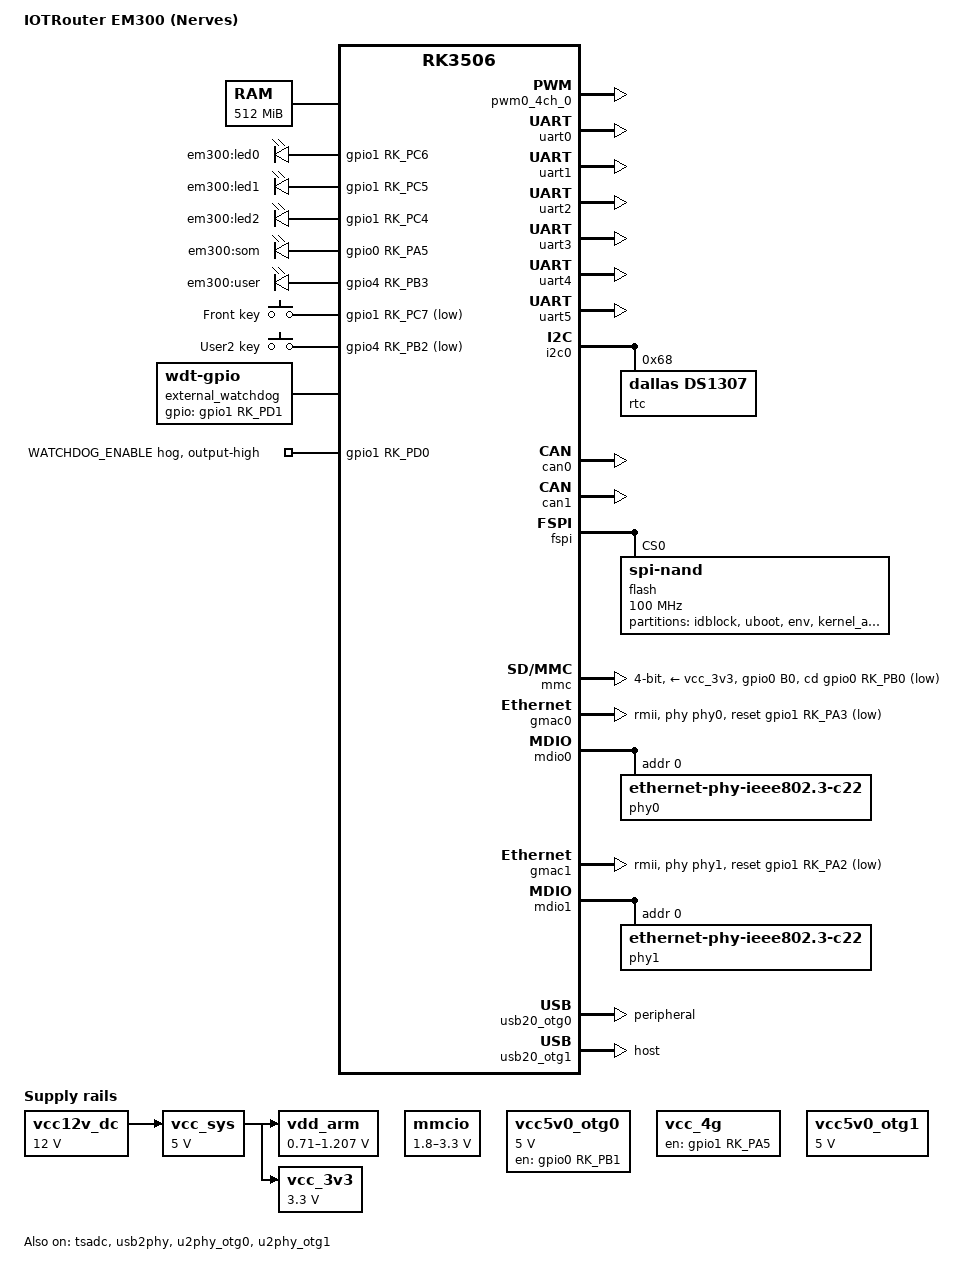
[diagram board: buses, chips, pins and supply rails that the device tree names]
// SPDX-License-Identifier: (GPL-2.0+ OR MIT)
/*
 * IOTRouter EM300 board configuration.
 *
 * Wiring comes from the stock EM300 device tree and the GPIO consumers of its
 * vendor services. Lines without a qualified Linux driver are named but left
 * unclaimed so userspace (Circuits.GPIO) can own them explicitly.
 */

/dts-v1/;

#include <dt-bindings/gpio/gpio.h>
#include <dt-bindings/input/input.h>
#include <dt-bindings/pinctrl/rockchip.h>

/* Reservations must precede the root nodes in the included SoC tree. */
/memreserve/ 0x00063000 0x0000b000;

#include "rk3506.dtsi"

/* The stock EM300 CPU operating-point table (identical to EC100). */
/delete-node/ &cpu0_opp_table;

/ {
    cpu0_opp_table: cpu0-opp-table {
        compatible = "operating-points-v2";
        opp-shared;
        nvmem-cells = <&cpu_leakage>;
        nvmem-cell-names = "leakage";
        rockchip,pvtm-voltage-sel = <
            0 1584 0
            1585 1619 1
            1620 1654 2
            1655 1689 3
            1690 1724 4
            1725 1759 5
            1760 1794 6
            1795 9999 7
        >;
        rockchip,pvtm-pvtpll;
        rockchip,pvtm-offset = <0x18>;
        rockchip,pvtm-sample-time = <500>;
        rockchip,pvtm-freq = <1608000>;
        rockchip,pvtm-volt = <1000000>;
        rockchip,pvtm-ref-temp = <40>;
        rockchip,pvtm-temp-prop = <0 0>;
        rockchip,pvtm-thermal-zone = "soc-thermal";
        rockchip,grf = <&pvtpll_core>;
        rockchip,temp-hysteresis = <5000>;
        rockchip,low-temp = <10000>;
        rockchip,low-temp-min-volt = <900000>;

        opp-600000000 {
            opp-hz = /bits/ 64 <600000000>;
            opp-microvolt = <850000 850000 1000000>;
            clock-latency-ns = <40000>;
            opp-suspend;
            status = "okay";
        };
        opp-800000000 {
            opp-hz = /bits/ 64 <800000000>;
            opp-microvolt = <850000 850000 1000000>;
            clock-latency-ns = <40000>;
            status = "okay";
        };
        opp-1008000000 {
            opp-hz = /bits/ 64 <1008000000>;
            opp-microvolt = <850000 850000 1000000>;
            opp-microvolt-L0 = <875000 875000 1000000>;
            clock-latency-ns = <40000>;
            status = "okay";
        };
        opp-1200000000 {
            opp-hz = /bits/ 64 <1200000000>;
            opp-microvolt = <850000 850000 1000000>;
            opp-microvolt-L0 = <875000 875000 1000000>;
            clock-latency-ns = <40000>;
            status = "okay";
        };
    };
};

/ {
    model = "IOTRouter EM300 (Nerves)";
    compatible = "iotrouter,em300", "rockchip,rk3506";

    aliases {
        serial0 = &uart0;
        mmc0 = &mmc;
    };

    chosen {
        stdout-path = "serial0:115200n8";
        bootargs = "earlycon=uart8250,mmio32,0xff0a0000 console=ttyS0,115200 rootwait ro";
    };

    memory@0 {
        device_type = "memory";
        reg = <0x00000000 0x20000000>;
    };

    reserved-memory {
        /delete-node/ drm-logo@0;
        /delete-node/ linux,cma;

        /* Inherit the vendor trust@0 reservation: base 0, size 0x62000. */
    };

    /* LED polarity is provisional: the stock services drive these lines but
     * the physical on-state is not qualified.
     */
    leds {
        compatible = "gpio-leds";
        pinctrl-names = "default";
        pinctrl-0 = <&led0_pin &led1_pin &led2_pin &som_led_pin &user_led_pin>;

        led0 {
            label = "em300:led0";
            gpios = <&gpio1 RK_PC6 GPIO_ACTIVE_HIGH>;
            default-state = "off";
        };

        led1 {
            label = "em300:led1";
            gpios = <&gpio1 RK_PC5 GPIO_ACTIVE_HIGH>;
            default-state = "off";
        };

        led2 {
            label = "em300:led2";
            gpios = <&gpio1 RK_PC4 GPIO_ACTIVE_HIGH>;
            default-state = "off";
        };

        som {
            label = "em300:som";
            gpios = <&gpio0 RK_PA5 GPIO_ACTIVE_HIGH>;
            default-state = "off";
        };

        user {
            label = "em300:user";
            gpios = <&gpio4 RK_PB3 GPIO_ACTIVE_HIGH>;
            default-state = "off";
        };
    };

    gpio-keys {
        compatible = "gpio-keys";
        pinctrl-names = "default";
        pinctrl-0 = <&key_pin &user2_key_pin>;

        key {
            label = "Front key";
            linux,code = <KEY_PROG1>;
            gpios = <&gpio1 RK_PC7 GPIO_ACTIVE_LOW>;
        };

        user2 {
            label = "User2 key";
            linux,code = <KEY_PROG2>;
            gpios = <&gpio4 RK_PB2 GPIO_ACTIVE_LOW>;
        };
    };

    /* External toggle-fed supervisor, as on the EC100. Stock firmware boots
     * with WATCHDOG_ENABLE at its pull-down level, then its application drives
     * it high and toggles WATCHDOG_KICK about every 10 s. Enable is hogged
     * high (see &gpio1); Linux feeds about every 5 s, twice the stock rate.
     * UNQUALIFIED: the hardware timeout is only known to exceed ~10 s.
     */
    external_watchdog: external-watchdog {
        compatible = "linux,wdt-gpio";
        pinctrl-names = "default";
        pinctrl-0 = <&external_watchdog_pin>;
        gpios = <&gpio1 RK_PD1 GPIO_ACTIVE_HIGH>;
        hw_algo = "toggle";
        hw_margin_ms = <10000>;
        always-running;
    };

    vcc12v_dc: vcc12v-dc {
        compatible = "regulator-fixed";
        regulator-name = "vcc12v_dc";
        regulator-always-on;
        regulator-boot-on;
        regulator-min-microvolt = <12000000>;
        regulator-max-microvolt = <12000000>;
    };

    vcc_sys: vcc-sys {
        compatible = "regulator-fixed";
        regulator-name = "vcc_sys";
        regulator-always-on;
        regulator-boot-on;
        regulator-min-microvolt = <5000000>;
        regulator-max-microvolt = <5000000>;
        vin-supply = <&vcc12v_dc>;
    };

    /* CPU rail: PWM0 channel 0, inverse polarity (as stock). */
    vdd_arm: vdd-arm {
        compatible = "pwm-regulator";
        pwms = <&pwm0_4ch_0 0 5000 1>;
        regulator-name = "vdd_arm";
        regulator-min-microvolt = <710000>;
        regulator-max-microvolt = <1207000>;
        regulator-init-microvolt = <1011000>;
        regulator-always-on;
        regulator-boot-on;
        regulator-settling-time-up-us = <250>;
        pwm-supply = <&vcc_sys>;
    };

    vcc_3v3: vcc-3v3 {
        compatible = "regulator-fixed";
        regulator-name = "vcc_3v3";
        regulator-always-on;
        regulator-boot-on;
        regulator-min-microvolt = <3300000>;
        regulator-max-microvolt = <3300000>;
        vin-supply = <&vcc_sys>;
    };

    mmcio: mmcio-gpio-regulator {
        compatible = "regulator-gpio";
        regulator-name = "mmcio-gpio-supply";
        regulator-min-microvolt = <1800000>;
        regulator-max-microvolt = <3300000>;
        pinctrl-names = "default";
        pinctrl-0 = <&mmcio_voltage_pin>;
        gpios = <&gpio0 RK_PD0 GPIO_ACTIVE_HIGH>;
        gpios-states = <0>;
        states = <3300000 1>, <1800000 0>;
        startup-delay-us = <100000>;
    };

    /* Keep the Type-C host VBUS switch claimed and defaulting off. */
    vcc5v0_otg0: vcc5v0-otg0-regulator {
        compatible = "regulator-fixed";
        regulator-name = "vcc5v0_otg0";
        regulator-min-microvolt = <5000000>;
        regulator-max-microvolt = <5000000>;
        enable-active-high;
        gpio = <&gpio0 RK_PB1 GPIO_ACTIVE_HIGH>;
        pinctrl-names = "default";
        pinctrl-0 = <&vcc5v0_otg0_en>;
    };

    /* 4G module power (stock "WWAN_POWER_PI", driven high). The module reset
     * line WWAN_RST_PI (GPIO1_A4) is left unclaimed and named below.
     */
    vcc_4g: vcc-4g-regulator {
        compatible = "regulator-fixed";
        regulator-name = "vcc_4g";
        regulator-always-on;
        regulator-boot-on;
        enable-active-high;
        gpio = <&gpio1 RK_PA5 GPIO_ACTIVE_HIGH>;
        pinctrl-names = "default";
        pinctrl-0 = <&vcc_4g_en>;
    };

    vcc5v0_otg1: vcc5v0-otg1-regulator {
        compatible = "regulator-fixed";
        regulator-name = "vcc5v0_otg1";
        regulator-boot-on;
        regulator-always-on;
        regulator-min-microvolt = <5000000>;
        regulator-max-microvolt = <5000000>;
    };
};

&cpu0 {
    cpu-supply = <&vdd_arm>;
};

&pwm0_4ch_0 {
    pinctrl-names = "active";
    pinctrl-0 = <&rm_io21_pwm0_ch0>;
    status = "okay";
};

/* PVTM calibration requires the board's thermal sensor. */
&tsadc {
    status = "okay";
};

/* Names follow the stock EM300 GPIO consumers. Unlisted lines are unknown. */
&gpio1 {
    gpio-line-names =
        /* A0-A7 */
        "UPS_DETECT", "UPS_POWER_CTRL", "", "", "WWAN_RESET", "", "", "",
        /* B0-B7 */
        "", "EXT_LINK", "", "", "EXT_ERROR_LED", "EXT_RESET", "", "",
        /* C0-C7 */
        "DI0", "DI1", "DO0", "DO1", "", "", "", "",
        /* D0-D7 */
        "WATCHDOG_ENABLE", "WATCHDOG_KICK", "", "", "", "", "", "";

    /* Arms the external watchdog, as stock firmware does once it feeds. */
    watchdog-enable-hog {
        gpio-hog;
        gpios = <RK_PD0 GPIO_ACTIVE_HIGH>;
        output-high;
        line-name = "WATCHDOG_ENABLE";
    };
};

/* UART0 serial console: 115200 baud. */
&uart0 {
    pinctrl-names = "default";
    pinctrl-0 = <&uart0_xfer_pins>;
    status = "okay";
};

/* Field serial ports; transceiver types and direction control are unqualified. */
&uart1 {
    pinctrl-names = "default";
    pinctrl-0 = <&rm_io10_uart1_tx &rm_io7_uart1_rx>;
    status = "okay";
};

&uart2 {
    pinctrl-names = "default";
    pinctrl-0 = <&rm_io12_uart2_tx &rm_io11_uart2_rx>;
    status = "okay";
};

&uart3 {
    pinctrl-names = "default";
    pinctrl-0 = <&rm_io14_uart3_tx &rm_io13_uart3_rx>;
    status = "okay";
};

&uart4 {
    pinctrl-names = "default";
    pinctrl-0 = <&rm_io16_uart4_tx &rm_io15_uart4_rx>;
    status = "okay";
};

/* Extension-module bus (921600 8N1), owned by the firmware's I/O domain. */
&uart5 {
    pinctrl-names = "default";
    pinctrl-0 = <&uart5m1_xfer_pins>;
    status = "okay";
};

&i2c0 {
    pinctrl-names = "default";
    pinctrl-0 = <&rm_io3_i2c0_scl &rm_io4_i2c0_sda>;
    status = "okay";

    /* The stock tree also declares a PCA9555 at 0x20, but it does not answer
     * on this board (probe and register reads fail), so it is omitted.
     */
    rtc@68 {
        compatible = "dallas,ds1307";
        reg = <0x68>;
    };
};

&can0 {
    pinctrl-names = "default";
    pinctrl-0 = <&rm_io20_can0_tx &rm_io19_can0_rx>;
    assigned-clocks = <&cru CLK_CAN0>;
    assigned-clock-rates = <300000000>;
    status = "okay";
};

&can1 {
    pinctrl-names = "default";
    pinctrl-0 = <&rm_io18_can1_tx &rm_io17_can1_rx>;
    assigned-clocks = <&cru CLK_CAN1>;
    assigned-clock-rates = <300000000>;
    status = "okay";
};

/* Internal 512 MiB SPI NAND. The layout must match nand-layout.txt and the
 * Rockchip GPT; system tests check that they agree.
 */
&fspi {
    status = "okay";

    flash@0 {
        compatible = "spi-nand";
        reg = <0>;
        spi-max-frequency = <100000000>;
        spi-rx-bus-width = <4>;
        spi-tx-bus-width = <1>;

        partitions {
            compatible = "fixed-partitions";
            #address-cells = <1>;
            #size-cells = <1>;

            partition@0 {
                label = "idblock";
                reg = <0x00000000 0x00400000>;
                read-only;
            };

            partition@400000 {
                label = "uboot";
                reg = <0x00400000 0x00400000>;
                read-only;
            };

            partition@800000 {
                label = "env";
                reg = <0x00800000 0x00100000>;
            };

            partition@900000 {
                label = "kernel_a";
                reg = <0x00900000 0x01000000>;
            };

            partition@1900000 {
                label = "kernel_b";
                reg = <0x01900000 0x01000000>;
            };

            partition@2900000 {
                label = "ubi";
                reg = <0x02900000 0x1d600000>;
            };
        };
    };
};

/* Removable microSD slot with card detect. */
&mmc {
    bus-width = <4>;
    cap-sd-highspeed;
    cap-mmc-highspeed;
    max-frequency = <150000000>;
    no-mmc;
    no-sdio;
    disable-wp;
    cd-gpios = <&gpio0 RK_PB0 GPIO_ACTIVE_LOW>;
    vmmc-supply = <&vcc_3v3>;
    vqmmc-supply = <&mmcio>;
    pinctrl-names = "default";
    pinctrl-0 = <&sdmmc_clk_pins &sdmmc_cmd_pins &sdmmc_bus4_pins &sd_det_pin>;
    status = "okay";
};

&gmac0 {
    phy-mode = "rmii";
    clock_in_out = "input";
    snps,reset-gpio = <&gpio1 RK_PA3 GPIO_ACTIVE_LOW>;
    snps,reset-active-low;
    snps,reset-delays-us = <20000 20000 20000>;
    pinctrl-names = "default";
    pinctrl-0 = <&eth_rmii0_miim_pins &eth_rmii0_tx_bus2_pins
                 &eth_rmii0_rx_bus2_pins &eth_rmii0_clk_pins>;
    phy-handle = <&phy0>;
    status = "okay";
};

&mdio0 {
    phy0: ethernet-phy@0 {
        compatible = "ethernet-phy-ieee802.3-c22";
        reg = <0>;
    };
};

&gmac1 {
    phy-mode = "rmii";
    clock_in_out = "input";
    snps,reset-gpio = <&gpio1 RK_PA2 GPIO_ACTIVE_LOW>;
    snps,reset-active-low;
    snps,reset-delays-us = <20000 20000 20000>;
    pinctrl-names = "default";
    pinctrl-0 = <&eth_rmii1_miim_pins &eth_rmii1_tx_bus2_pins
                 &eth_rmii1_rx_bus2_pins &eth_rmii1_clk_pins>;
    phy-handle = <&phy1>;
    status = "okay";
};

&mdio1 {
    phy1: ethernet-phy@0 {
        compatible = "ethernet-phy-ieee802.3-c22";
        reg = <0>;
    };
};

&usb2phy {
    status = "okay";
};

&u2phy_otg0 {
    /delete-property/ rockchip,low-power-mode;
    rockchip,dis-u2-susphy;
    /* Externally powered peripheral: never source Type-C host VBUS. */
    /delete-property/ vbus-supply;
    status = "okay";
};

&u2phy_otg1 {
    phy-supply = <&vcc5v0_otg1>;
    status = "okay";
};

/* Type-C setup port. No automatic OTG role switching. */
&usb20_otg0 {
    dr_mode = "peripheral";
    status = "okay";
};

/* Internal USB hub: Quectel modem, Wi-Fi module and card reader. */
&usb20_otg1 {
    dr_mode = "host";
    status = "okay";
};

&pinctrl {
    external-watchdog {
        external_watchdog_pin: external-watchdog-pin {
            rockchip,pins = <1 RK_PD1 RK_FUNC_GPIO &pcfg_pull_none>;
        };
    };

    user-controls {
        led0_pin: led0-pin {
            rockchip,pins = <1 RK_PC6 RK_FUNC_GPIO &pcfg_pull_none>;
        };

        led1_pin: led1-pin {
            rockchip,pins = <1 RK_PC5 RK_FUNC_GPIO &pcfg_pull_none>;
        };

        led2_pin: led2-pin {
            rockchip,pins = <1 RK_PC4 RK_FUNC_GPIO &pcfg_pull_none>;
        };

        som_led_pin: som-led-pin {
            rockchip,pins = <0 RK_PA5 RK_FUNC_GPIO &pcfg_pull_none>;
        };

        user_led_pin: user-led-pin {
            rockchip,pins = <4 RK_PB3 RK_FUNC_GPIO &pcfg_pull_none>;
        };

        key_pin: key-pin {
            rockchip,pins = <1 RK_PC7 RK_FUNC_GPIO &pcfg_pull_up>;
        };

        user2_key_pin: user2-key-pin {
            rockchip,pins = <4 RK_PB2 RK_FUNC_GPIO &pcfg_pull_up>;
        };
    };

    mmcio {
        mmcio_voltage_pin: mmcio-voltage-pin {
            rockchip,pins = <0 RK_PD0 RK_FUNC_GPIO &pcfg_pull_none>;
        };

        sd_det_pin: sd-det-pin {
            rockchip,pins = <0 RK_PB0 RK_FUNC_GPIO &pcfg_pull_up>;
        };
    };

    modem {
        vcc_4g_en: vcc-4g-en {
            rockchip,pins = <1 RK_PA5 RK_FUNC_GPIO &pcfg_pull_none>;
        };
    };

    usb {
        vcc5v0_otg0_en: vcc5v0-otg0-en {
            rockchip,pins = <0 RK_PB1 RK_FUNC_GPIO &pcfg_pull_none>;
        };
    };
};

/* SoC watchdogs stay disabled: the external watchdog is the one reset path,
 * as on the EC100. wdt0 is the fallback if the external circuit is unusable.
 */
&wdt0 {
    status = "disabled";
};

&wdt1 {
    status = "disabled";
};
